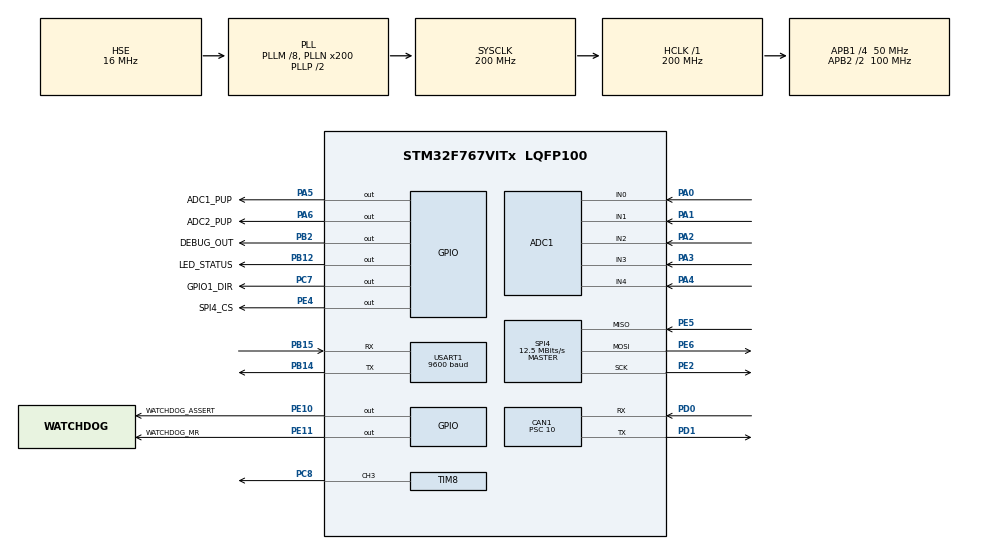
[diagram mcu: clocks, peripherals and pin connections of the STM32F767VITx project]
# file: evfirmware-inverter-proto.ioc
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ADC1.Channel-0\#ChannelRegularConversion=ADC_CHANNEL_0
ADC1.Channel-1\#ChannelRegularConversion=ADC_CHANNEL_1
ADC1.Channel-2\#ChannelRegularConversion=ADC_CHANNEL_2
ADC1.Channel-3\#ChannelRegularConversion=ADC_CHANNEL_3
ADC1.Channel-4\#ChannelRegularConversion=ADC_CHANNEL_4
ADC1.ContinuousConvMode=ENABLE
ADC1.DMAContinuousRequests=ENABLE
ADC1.NbrOfConversion=5
ADC1.NbrOfConversionFlag=1
ADC1.Rank-0\#ChannelRegularConversion=1
ADC1.Rank-1\#ChannelRegularConversion=2
ADC1.Rank-2\#ChannelRegularConversion=3
ADC1.Rank-3\#ChannelRegularConversion=4
ADC1.Rank-4\#ChannelRegularConversion=5
ADC1.SamplingTime-0\#ChannelRegularConversion=ADC_SAMPLETIME_480CYCLES
ADC1.SamplingTime-1\#ChannelRegularConversion=ADC_SAMPLETIME_480CYCLES
ADC1.SamplingTime-2\#ChannelRegularConversion=ADC_SAMPLETIME_480CYCLES
ADC1.SamplingTime-3\#ChannelRegularConversion=ADC_SAMPLETIME_480CYCLES
ADC1.SamplingTime-4\#ChannelRegularConversion=ADC_SAMPLETIME_480CYCLES
ADC1.master=1
CAN1.ABOM=DISABLE
CAN1.AWUM=DISABLE
CAN1.BS1=CAN_BS1_8TQ
CAN1.CalculateBaudRate=500000
CAN1.CalculateTimeBit=2000.00
CAN1.CalculateTimeQuantum=200.0
CAN1.NART=ENABLE
CAN1.Prescaler=10
CAN1.RFLM=DISABLE
CAN1.SJW=CAN_SJW_1TQ
CAN1.TTCM=DISABLE
CAN1.TXFP=DISABLE
Dma.ADC1.0.Direction=DMA_PERIPH_TO_MEMORY
Dma.ADC1.0.FIFOMode=DMA_FIFOMODE_DISABLE
Dma.ADC1.0.Instance=DMA2_Stream0
Dma.ADC1.0.MemDataAlignment=DMA_MDATAALIGN_HALFWORD
Dma.ADC1.0.MemInc=DMA_MINC_ENABLE
Dma.ADC1.0.Mode=DMA_CIRCULAR
Dma.ADC1.0.PeriphDataAlignment=DMA_PDATAALIGN_HALFWORD
Dma.ADC1.0.PeriphInc=DMA_PINC_DISABLE
Dma.ADC1.0.Priority=DMA_PRIORITY_LOW
Dma.Request0=ADC1
Dma.Request1=SPI4_RX
Dma.Request2=USART1_RX
Dma.Request3=USART1_TX
Dma.SPI4_RX.1.Direction=DMA_PERIPH_TO_MEMORY
Dma.SPI4_RX.1.FIFOMode=DMA_FIFOMODE_DISABLE
Dma.SPI4_RX.1.Instance=DMA2_Stream3
Dma.SPI4_RX.1.MemDataAlignment=DMA_MDATAALIGN_BYTE
Dma.SPI4_RX.1.MemInc=DMA_MINC_ENABLE
Dma.SPI4_RX.1.Mode=DMA_NORMAL
Dma.SPI4_RX.1.PeriphDataAlignment=DMA_PDATAALIGN_BYTE
Dma.SPI4_RX.1.PeriphInc=DMA_PINC_DISABLE
Dma.SPI4_RX.1.Priority=DMA_PRIORITY_LOW
Dma.USART1_RX.2.Direction=DMA_PERIPH_TO_MEMORY
Dma.USART1_RX.2.FIFOMode=DMA_FIFOMODE_DISABLE
Dma.USART1_RX.2.Instance=DMA2_Stream2
Dma.USART1_RX.2.MemDataAlignment=DMA_MDATAALIGN_BYTE
Dma.USART1_RX.2.MemInc=DMA_MINC_ENABLE
Dma.USART1_RX.2.Mode=DMA_CIRCULAR
Dma.USART1_RX.2.PeriphDataAlignment=DMA_PDATAALIGN_BYTE
Dma.USART1_RX.2.PeriphInc=DMA_PINC_DISABLE
Dma.USART1_RX.2.Priority=DMA_PRIORITY_LOW
Dma.USART1_TX.3.Direction=DMA_MEMORY_TO_PERIPH
Dma.USART1_TX.3.FIFOMode=DMA_FIFOMODE_DISABLE
Dma.USART1_TX.3.Instance=DMA2_Stream7
Dma.USART1_TX.3.MemDataAlignment=DMA_MDATAALIGN_BYTE
Dma.USART1_TX.3.MemInc=DMA_MINC_ENABLE
Dma.USART1_TX.3.Mode=DMA_NORMAL
Dma.USART1_TX.3.PeriphDataAlignment=DMA_PDATAALIGN_BYTE
Dma.USART1_TX.3.PeriphInc=DMA_PINC_DISABLE
Dma.USART1_TX.3.Priority=DMA_PRIORITY_LOW
Mcu.Family=STM32F7
Mcu.Name=STM32F767VITx
Mcu.Package=LQFP100
NVIC.CAN1_RX0_IRQn=true\:6\:0\:true\:false\:true\:true\:true
NVIC.DMA2_Stream0_IRQn=true\:0\:0\:false\:false\:true\:false\:true
NVIC.DMA2_Stream2_IRQn=true\:0\:0\:false\:false\:true\:false\:true
NVIC.DMA2_Stream3_IRQn=true\:0\:0\:false\:false\:true\:false\:true
NVIC.DMA2_Stream7_IRQn=true\:0\:0\:false\:false\:true\:false\:true
NVIC.PriorityGroup=NVIC_PRIORITYGROUP_4
NVIC.SPI4_IRQn=true\:6\:0\:true\:false\:true\:true\:true
NVIC.TIM1_UP_TIM10_IRQn=true\:0\:0\:false\:false\:true\:false\:true
NVIC.TIM2_IRQn=true\:5\:0\:true\:false\:true\:true\:true
NVIC.TimeBase=TIM1_UP_TIM10_IRQn
NVIC.TimeBaseIP=TIM1
NVIC.USART1_IRQn=true\:6\:0\:true\:false\:true\:true\:true
PA0/WKUP.Signal=ADCx_IN0
PA1.Signal=ADCx_IN1
PA13.Mode=Trace_Asynchronous_SW
PA13.Signal=SYS_JTMS-SWDIO
PA14.Mode=Trace_Asynchronous_SW
PA14.Signal=SYS_JTCK-SWCLK
PA2.Signal=ADCx_IN2
PA3.Signal=ADCx_IN3
PA4.Signal=ADCx_IN4
PA5.GPIO_Label=ADC1_PUP
PA5.Signal=GPIO_Output
PA6.GPIO_Label=ADC2_PUP
PA6.Signal=GPIO_Output
PB12.GPIO_Label=LED_STATUS
PB12.Signal=GPIO_Output
PB14.Mode=Asynchronous
PB14.Signal=USART1_TX
PB15.Mode=Asynchronous
PB15.Signal=USART1_RX
PB2.GPIO_Label=DEBUG_OUT
PB2.Signal=GPIO_Output
PB3.Mode=Trace_Asynchronous_SW
PB3.Signal=SYS_JTDO-SWO
PC7.GPIO_Label=GPIO1_DIR
PC7.Signal=GPIO_Output
PC8.Signal=S_TIM8_CH3
PD0.Mode=CAN_Activate
PD0.Signal=CAN1_RX
PD1.Mode=CAN_Activate
PD1.Signal=CAN1_TX
PE10.GPIO_Label=WATCHDOG_ASSERT
PE10.Signal=GPIO_Output
PE11.GPIO_Label=WATCHDOG_MR
PE11.Signal=GPIO_Output
PE2.Mode=Full_Duplex_Master
PE2.Signal=SPI4_SCK
PE4.GPIO_Label=SPI4_CS
PE4.Signal=GPIO_Output
PE5.Mode=Full_Duplex_Master
PE5.Signal=SPI4_MISO
PE6.Mode=Full_Duplex_Master
PE6.Signal=SPI4_MOSI
PH0/OSC_IN.Mode=HSE-External-Oscillator
PH0/OSC_IN.Signal=RCC_OSC_IN
PH1/OSC_OUT.Mode=HSE-External-Oscillator
PH1/OSC_OUT.Signal=RCC_OSC_OUT
ProjectManager.HeapSize=0x200
ProjectManager.StackSize=0x400
ProjectManager.TargetToolchain=STM32CubeIDE
RCC.AHBFreq_Value=200000000
RCC.APB1CLKDivider=RCC_HCLK_DIV4
RCC.APB1Freq_Value=50000000
RCC.APB1TimFreq_Value=100000000
RCC.APB2CLKDivider=RCC_HCLK_DIV2
RCC.APB2Freq_Value=100000000
RCC.APB2TimFreq_Value=200000000
RCC.CortexFreq_Value=200000000
RCC.HCLKFreq_Value=200000000
RCC.HSE_VALUE=16000000
RCC.HSI_VALUE=16000000
RCC.LSE_VALUE=32768
RCC.PLLM=8
RCC.PLLN=200
RCC.PLLSourceVirtual=RCC_PLLSOURCE_HSE
RCC.SYSCLKFreq_VALUE=200000000
RCC.SYSCLKSource=RCC_SYSCLKSOURCE_PLLCLK
RCC.USBFreq_Value=200000000
RCC.VCOOutputFreq_Value=400000000
SH.ADCx_IN0.0=ADC1_IN0,IN0
SH.ADCx_IN1.0=ADC1_IN1,IN1
SH.ADCx_IN2.0=ADC1_IN2,IN2
SH.ADCx_IN3.0=ADC1_IN3,IN3
SH.ADCx_IN4.0=ADC1_IN4,IN4
SH.S_TIM8_CH3.0=TIM8_CH3,PWM Generation3 CH3
SPI4.BaudRatePrescaler=SPI_BAUDRATEPRESCALER_8
SPI4.CalculateBaudRate=12.5 MBits/s
SPI4.DataSize=SPI_DATASIZE_8BIT
SPI4.Direction=SPI_DIRECTION_2LINES
SPI4.Mode=SPI_MODE_MASTER
SPI4.VirtualType=VM_MASTER
TIM2.AutoReloadPreload=TIM_AUTORELOAD_PRELOAD_ENABLE
TIM2.Period=999
TIM2.Prescaler=9
TIM8.AutoReloadPreload=TIM_AUTORELOAD_PRELOAD_ENABLE
TIM8.Channel-PWM\ Generation3\ CH3=TIM_CHANNEL_3
TIM8.Period=19999
TIM8.Prescaler=0
USART1.BaudRate=9600
USART1.VirtualMode-Asynchronous=VM_ASYNC
VP_RTC_VS_RTC_Activate.Mode=RTC_Enabled
VP_SYS_VS_tim1.Mode=TIM1
VP_TIM2_VS_ClockSourceINT.Mode=Internal
VP_TIM8_VS_ClockSourceINT.Mode=Internal
board=custom

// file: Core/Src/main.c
/* USER CODE BEGIN Header */
/**
  ******************************************************************************
  * @file           : main.c
  * @brief          : Main program body
  ******************************************************************************
  * @attention
  *
  * <h2><center>&copy; Copyright (c) 2020 STMicroelectronics.
  * All rights reserved.</center></h2>
  *
  * This software component is licensed by ST under BSD 3-Clause license,
  * the "License"; You may not use this file except in compliance with the
  * License. You may obtain a copy of the License at:
  *                        opensource.org/licenses/BSD-3-Clause
  *
  ******************************************************************************
  */
/* USER CODE END Header */
#include "main.h"

/* USER CODE BEGIN Includes */
#include <stdio.h>
#include <stdbool.h>
#include "FreeRTOS.h"
#include "task.h"

#include "startup/initialize.h"

#include "time/tasktimer/tasktimer.h" /* Used for timer callback ISR */
#include "lib/logging/logging.h"
/* USER CODE END Includes */

/* USER CODE BEGIN PD */
static bool isInitialized;
/* USER CODE END PD */

ADC_HandleTypeDef hadc1;
DMA_HandleTypeDef hdma_adc1;

CAN_HandleTypeDef hcan1;

RTC_HandleTypeDef hrtc;

SPI_HandleTypeDef hspi4;
DMA_HandleTypeDef hdma_spi4_rx;

TIM_HandleTypeDef htim2;
TIM_HandleTypeDef htim8;

UART_HandleTypeDef huart1;
DMA_HandleTypeDef hdma_usart1_rx;
DMA_HandleTypeDef hdma_usart1_tx;

void SystemClock_Config(void);
static void MX_GPIO_Init(void);
static void MX_DMA_Init(void);
static void MX_CAN1_Init(void);
static void MX_ADC1_Init(void);
static void MX_SPI4_Init(void);
static void MX_TIM2_Init(void);
static void MX_USART1_UART_Init(void);
static void MX_RTC_Init(void);
static void MX_TIM8_Init(void);

int main(void)
{
  /* USER CODE BEGIN 1 */
  isInitialized = false;

  /* USER CODE END 1 */

  /* MCU Configuration--------------------------------------------------------*/

  /* Reset of all peripherals, Initializes the Flash interface and the Systick. */
  HAL_Init();

  /* Configure the system clock */
  SystemClock_Config();

  /* USER CODE BEGIN SysInit */
  // Disable interrupts while hardware initializes before the RTOS starts up
  // (once the hardware initializes, interrupts will invoke RTOS calls - prevent this)
  portDISABLE_INTERRUPTS();
  /* USER CODE END SysInit */

  /* Initialize all configured peripherals */
  MX_GPIO_Init();
  MX_DMA_Init();
  MX_CAN1_Init();
  MX_ADC1_Init();
  MX_SPI4_Init();
  MX_TIM2_Init();
  MX_USART1_UART_Init();
  MX_RTC_Init();
  MX_TIM8_Init();
  /* USER CODE BEGIN 2 */

  printf("\n");
  printf("Main initialize...\n");
  ECU_Init_Status_T initStatus = ECU_Init();
  if (initStatus != ECU_INIT_OK) {
    printf("Initialization error, halting\n");
    Error_Handler();
  }

  isInitialized = true;

  // start RTOS
  printf("Starting scheduler...\n");
  vTaskStartScheduler();

  /* USER CODE END 2 */

  /* Infinite loop */
  while (1)
  {

  }
}

void SystemClock_Config(void)
{
  RCC_OscInitTypeDef RCC_OscInitStruct = {0};
  RCC_ClkInitTypeDef RCC_ClkInitStruct = {0};
  RCC_PeriphCLKInitTypeDef PeriphClkInitStruct = {0};

  /** Configure the main internal regulator output voltage
  */
  __HAL_RCC_PWR_CLK_ENABLE();
  __HAL_PWR_VOLTAGESCALING_CONFIG(PWR_REGULATOR_VOLTAGE_SCALE1);
  /** Initializes the RCC Oscillators according to the specified parameters
  * in the RCC_OscInitTypeDef structure.
  */
  RCC_OscInitStruct.OscillatorType = RCC_OSCILLATORTYPE_LSI|RCC_OSCILLATORTYPE_HSE;
  RCC_OscInitStruct.HSEState = RCC_HSE_ON;
  RCC_OscInitStruct.LSIState = RCC_LSI_ON;
  RCC_OscInitStruct.PLL.PLLState = RCC_PLL_ON;
  RCC_OscInitStruct.PLL.PLLSource = RCC_PLLSOURCE_HSE;
  RCC_OscInitStruct.PLL.PLLM = 8;
  RCC_OscInitStruct.PLL.PLLN = 200;
  RCC_OscInitStruct.PLL.PLLP = RCC_PLLP_DIV2;
  RCC_OscInitStruct.PLL.PLLQ = 2;
  RCC_OscInitStruct.PLL.PLLR = 2;
  if (HAL_RCC_OscConfig(&RCC_OscInitStruct) != HAL_OK)
  {
    Error_Handler();
  }
  /** Activate the Over-Drive mode
  */
  if (HAL_PWREx_EnableOverDrive() != HAL_OK)
  {
    Error_Handler();
  }
  /** Initializes the CPU, AHB and APB buses clocks
  */
  RCC_ClkInitStruct.ClockType = RCC_CLOCKTYPE_HCLK|RCC_CLOCKTYPE_SYSCLK
                              |RCC_CLOCKTYPE_PCLK1|RCC_CLOCKTYPE_PCLK2;
  RCC_ClkInitStruct.SYSCLKSource = RCC_SYSCLKSOURCE_PLLCLK;
  RCC_ClkInitStruct.AHBCLKDivider = RCC_SYSCLK_DIV1;
  RCC_ClkInitStruct.APB1CLKDivider = RCC_HCLK_DIV4;
  RCC_ClkInitStruct.APB2CLKDivider = RCC_HCLK_DIV2;

  if (HAL_RCC_ClockConfig(&RCC_ClkInitStruct, FLASH_LATENCY_6) != HAL_OK)
  {
    Error_Handler();
  }
  PeriphClkInitStruct.PeriphClockSelection = RCC_PERIPHCLK_RTC|RCC_PERIPHCLK_USART1;
  PeriphClkInitStruct.RTCClockSelection = RCC_RTCCLKSOURCE_LSI;
  PeriphClkInitStruct.Usart1ClockSelection = RCC_USART1CLKSOURCE_PCLK2;
  if (HAL_RCCEx_PeriphCLKConfig(&PeriphClkInitStruct) != HAL_OK)
  {
    Error_Handler();
  }
}

static void MX_ADC1_Init(void)
{

  ADC_ChannelConfTypeDef sConfig = {0};

  /** Configure the global features of the ADC (Clock, Resolution, Data Alignment and number of conversion)
  */
  hadc1.Instance = ADC1;
  hadc1.Init.ClockPrescaler = ADC_CLOCK_SYNC_PCLK_DIV4;
  hadc1.Init.Resolution = ADC_RESOLUTION_12B;
  hadc1.Init.ScanConvMode = ADC_SCAN_ENABLE;
  hadc1.Init.ContinuousConvMode = ENABLE;
  hadc1.Init.DiscontinuousConvMode = DISABLE;
  hadc1.Init.ExternalTrigConvEdge = ADC_EXTERNALTRIGCONVEDGE_NONE;
  hadc1.Init.ExternalTrigConv = ADC_SOFTWARE_START;
  hadc1.Init.DataAlign = ADC_DATAALIGN_RIGHT;
  hadc1.Init.NbrOfConversion = 5;
  hadc1.Init.DMAContinuousRequests = ENABLE;
  hadc1.Init.EOCSelection = ADC_EOC_SINGLE_CONV;
  if (HAL_ADC_Init(&hadc1) != HAL_OK)
  {
    Error_Handler();
  }
  /** Configure for the selected ADC regular channel its corresponding rank in the sequencer and its sample time.
  */
  sConfig.Channel = ADC_CHANNEL_0;
  sConfig.Rank = ADC_REGULAR_RANK_1;
  sConfig.SamplingTime = ADC_SAMPLETIME_480CYCLES;
  if (HAL_ADC_ConfigChannel(&hadc1, &sConfig) != HAL_OK)
  {
    Error_Handler();
  }
  /** Configure for the selected ADC regular channel its corresponding rank in the sequencer and its sample time.
  */
  sConfig.Channel = ADC_CHANNEL_1;
  sConfig.Rank = ADC_REGULAR_RANK_2;
  if (HAL_ADC_ConfigChannel(&hadc1, &sConfig) != HAL_OK)
  {
    Error_Handler();
  }
  /** Configure for the selected ADC regular channel its corresponding rank in the sequencer and its sample time.
  */
  sConfig.Channel = ADC_CHANNEL_2;
  sConfig.Rank = ADC_REGULAR_RANK_3;
  if (HAL_ADC_ConfigChannel(&hadc1, &sConfig) != HAL_OK)
  {
    Error_Handler();
  }
  /** Configure for the selected ADC regular channel its corresponding rank in the sequencer and its sample time.
  */
  sConfig.Channel = ADC_CHANNEL_3;
  sConfig.Rank = ADC_REGULAR_RANK_4;
  if (HAL_ADC_ConfigChannel(&hadc1, &sConfig) != HAL_OK)
  {
    Error_Handler();
  }
  /** Configure for the selected ADC regular channel its corresponding rank in the sequencer and its sample time.
  */
  sConfig.Channel = ADC_CHANNEL_4;
  sConfig.Rank = ADC_REGULAR_RANK_5;
  if (HAL_ADC_ConfigChannel(&hadc1, &sConfig) != HAL_OK)
  {
    Error_Handler();
  }

}

static void MX_CAN1_Init(void)
{

  hcan1.Instance = CAN1;
  hcan1.Init.Prescaler = 10;
  hcan1.Init.Mode = CAN_MODE_NORMAL;
  hcan1.Init.SyncJumpWidth = CAN_SJW_1TQ;
  hcan1.Init.TimeSeg1 = CAN_BS1_8TQ;
  hcan1.Init.TimeSeg2 = CAN_BS2_1TQ;
  hcan1.Init.TimeTriggeredMode = DISABLE;
  hcan1.Init.AutoBusOff = DISABLE;
  hcan1.Init.AutoWakeUp = DISABLE;
  hcan1.Init.AutoRetransmission = ENABLE;
  hcan1.Init.ReceiveFifoLocked = DISABLE;
  hcan1.Init.TransmitFifoPriority = DISABLE;
  if (HAL_CAN_Init(&hcan1) != HAL_OK)
  {
    Error_Handler();
  }

}

static void MX_RTC_Init(void)
{

  /** Initialize RTC Only
  */
  hrtc.Instance = RTC;
  hrtc.Init.HourFormat = RTC_HOURFORMAT_24;
  hrtc.Init.AsynchPrediv = 127;
  hrtc.Init.SynchPrediv = 255;
  hrtc.Init.OutPut = RTC_OUTPUT_DISABLE;
  hrtc.Init.OutPutPolarity = RTC_OUTPUT_POLARITY_HIGH;
  hrtc.Init.OutPutType = RTC_OUTPUT_TYPE_OPENDRAIN;
  if (HAL_RTC_Init(&hrtc) != HAL_OK)
  {
    Error_Handler();
  }

}

static void MX_SPI4_Init(void)
{

  /* SPI4 parameter configuration*/
  hspi4.Instance = SPI4;
  hspi4.Init.Mode = SPI_MODE_MASTER;
  hspi4.Init.Direction = SPI_DIRECTION_2LINES;
  hspi4.Init.DataSize = SPI_DATASIZE_8BIT;
  hspi4.Init.CLKPolarity = SPI_POLARITY_LOW;
  hspi4.Init.CLKPhase = SPI_PHASE_1EDGE;
  hspi4.Init.NSS = SPI_NSS_SOFT;
  hspi4.Init.BaudRatePrescaler = SPI_BAUDRATEPRESCALER_8;
  hspi4.Init.FirstBit = SPI_FIRSTBIT_MSB;
  hspi4.Init.TIMode = SPI_TIMODE_DISABLE;
  hspi4.Init.CRCCalculation = SPI_CRCCALCULATION_DISABLE;
  hspi4.Init.CRCPolynomial = 7;
  hspi4.Init.CRCLength = SPI_CRC_LENGTH_DATASIZE;
  hspi4.Init.NSSPMode = SPI_NSS_PULSE_ENABLE;
  if (HAL_SPI_Init(&hspi4) != HAL_OK)
  {
    Error_Handler();
  }

}

static void MX_TIM2_Init(void)
{

  TIM_ClockConfigTypeDef sClockSourceConfig = {0};
  TIM_MasterConfigTypeDef sMasterConfig = {0};

  htim2.Instance = TIM2;
  htim2.Init.Prescaler = 9;
  htim2.Init.CounterMode = TIM_COUNTERMODE_UP;
  htim2.Init.Period = 999;
  htim2.Init.ClockDivision = TIM_CLOCKDIVISION_DIV1;
  htim2.Init.AutoReloadPreload = TIM_AUTORELOAD_PRELOAD_ENABLE;
  if (HAL_TIM_Base_Init(&htim2) != HAL_OK)
  {
    Error_Handler();
  }
  sClockSourceConfig.ClockSource = TIM_CLOCKSOURCE_INTERNAL;
  if (HAL_TIM_ConfigClockSource(&htim2, &sClockSourceConfig) != HAL_OK)
  {
    Error_Handler();
  }
  sMasterConfig.MasterOutputTrigger = TIM_TRGO_RESET;
  sMasterConfig.MasterSlaveMode = TIM_MASTERSLAVEMODE_DISABLE;
  if (HAL_TIMEx_MasterConfigSynchronization(&htim2, &sMasterConfig) != HAL_OK)
  {
    Error_Handler();
  }

}

static void MX_TIM8_Init(void)
{

  TIM_ClockConfigTypeDef sClockSourceConfig = {0};
  TIM_MasterConfigTypeDef sMasterConfig = {0};
  TIM_OC_InitTypeDef sConfigOC = {0};
  TIM_BreakDeadTimeConfigTypeDef sBreakDeadTimeConfig = {0};

  htim8.Instance = TIM8;
  htim8.Init.Prescaler = 0;
  htim8.Init.CounterMode = TIM_COUNTERMODE_UP;
  htim8.Init.Period = 19999;
  htim8.Init.ClockDivision = TIM_CLOCKDIVISION_DIV1;
  htim8.Init.RepetitionCounter = 0;
  htim8.Init.AutoReloadPreload = TIM_AUTORELOAD_PRELOAD_ENABLE;
  if (HAL_TIM_Base_Init(&htim8) != HAL_OK)
  {
    Error_Handler();
  }
  sClockSourceConfig.ClockSource = TIM_CLOCKSOURCE_INTERNAL;
  if (HAL_TIM_ConfigClockSource(&htim8, &sClockSourceConfig) != HAL_OK)
  {
    Error_Handler();
  }
  if (HAL_TIM_PWM_Init(&htim8) != HAL_OK)
  {
    Error_Handler();
  }
  sMasterConfig.MasterOutputTrigger = TIM_TRGO_RESET;
  sMasterConfig.MasterOutputTrigger2 = TIM_TRGO2_RESET;
  sMasterConfig.MasterSlaveMode = TIM_MASTERSLAVEMODE_DISABLE;
  if (HAL_TIMEx_MasterConfigSynchronization(&htim8, &sMasterConfig) != HAL_OK)
  {
    Error_Handler();
  }
  sConfigOC.OCMode = TIM_OCMODE_PWM1;
  sConfigOC.Pulse = 0;
  sConfigOC.OCPolarity = TIM_OCPOLARITY_HIGH;
  sConfigOC.OCNPolarity = TIM_OCNPOLARITY_HIGH;
  sConfigOC.OCFastMode = TIM_OCFAST_DISABLE;
  sConfigOC.OCIdleState = TIM_OCIDLESTATE_RESET;
  sConfigOC.OCNIdleState = TIM_OCNIDLESTATE_RESET;
  if (HAL_TIM_PWM_ConfigChannel(&htim8, &sConfigOC, TIM_CHANNEL_3) != HAL_OK)
  {
    Error_Handler();
  }
  sBreakDeadTimeConfig.OffStateRunMode = TIM_OSSR_DISABLE;
  sBreakDeadTimeConfig.OffStateIDLEMode = TIM_OSSI_DISABLE;
  sBreakDeadTimeConfig.LockLevel = TIM_LOCKLEVEL_OFF;
  sBreakDeadTimeConfig.DeadTime = 0;
  sBreakDeadTimeConfig.BreakState = TIM_BREAK_DISABLE;
  sBreakDeadTimeConfig.BreakPolarity = TIM_BREAKPOLARITY_HIGH;
  sBreakDeadTimeConfig.BreakFilter = 0;
  sBreakDeadTimeConfig.Break2State = TIM_BREAK2_DISABLE;
  sBreakDeadTimeConfig.Break2Polarity = TIM_BREAK2POLARITY_HIGH;
  sBreakDeadTimeConfig.Break2Filter = 0;
  sBreakDeadTimeConfig.AutomaticOutput = TIM_AUTOMATICOUTPUT_DISABLE;
  if (HAL_TIMEx_ConfigBreakDeadTime(&htim8, &sBreakDeadTimeConfig) != HAL_OK)
  {
    Error_Handler();
  }
  HAL_TIM_MspPostInit(&htim8);

}

static void MX_USART1_UART_Init(void)
{

  huart1.Instance = USART1;
  huart1.Init.BaudRate = 9600;
  huart1.Init.WordLength = UART_WORDLENGTH_8B;
  huart1.Init.StopBits = UART_STOPBITS_1;
  huart1.Init.Parity = UART_PARITY_NONE;
  huart1.Init.Mode = UART_MODE_TX_RX;
  huart1.Init.HwFlowCtl = UART_HWCONTROL_NONE;
  huart1.Init.OverSampling = UART_OVERSAMPLING_16;
  huart1.Init.OneBitSampling = UART_ONE_BIT_SAMPLE_DISABLE;
  huart1.AdvancedInit.AdvFeatureInit = UART_ADVFEATURE_NO_INIT;
  if (HAL_UART_Init(&huart1) != HAL_OK)
  {
    Error_Handler();
  }

}

static void MX_DMA_Init(void)
{

  /* DMA controller clock enable */
  __HAL_RCC_DMA2_CLK_ENABLE();

  /* DMA interrupt init */
  /* DMA2_Stream0_IRQn interrupt configuration */
  HAL_NVIC_SetPriority(DMA2_Stream0_IRQn, 0, 0);
  HAL_NVIC_EnableIRQ(DMA2_Stream0_IRQn);
  /* DMA2_Stream2_IRQn interrupt configuration */
  HAL_NVIC_SetPriority(DMA2_Stream2_IRQn, 0, 0);
  HAL_NVIC_EnableIRQ(DMA2_Stream2_IRQn);
  /* DMA2_Stream3_IRQn interrupt configuration */
  HAL_NVIC_SetPriority(DMA2_Stream3_IRQn, 0, 0);
  HAL_NVIC_EnableIRQ(DMA2_Stream3_IRQn);
  /* DMA2_Stream7_IRQn interrupt configuration */
  HAL_NVIC_SetPriority(DMA2_Stream7_IRQn, 0, 0);
  HAL_NVIC_EnableIRQ(DMA2_Stream7_IRQn);

}

static void MX_GPIO_Init(void)
{
  GPIO_InitTypeDef GPIO_InitStruct = {0};

  /* GPIO Ports Clock Enable */
  __HAL_RCC_GPIOE_CLK_ENABLE();
  __HAL_RCC_GPIOH_CLK_ENABLE();
  __HAL_RCC_GPIOA_CLK_ENABLE();
  __HAL_RCC_GPIOB_CLK_ENABLE();
  __HAL_RCC_GPIOC_CLK_ENABLE();
  __HAL_RCC_GPIOD_CLK_ENABLE();

  /*Configure GPIO pin Output Level */
  HAL_GPIO_WritePin(GPIOE, SPI4_CS_Pin|WATCHDOG_ASSERT_Pin|WATCHDOG_MR_Pin, GPIO_PIN_RESET);

  /*Configure GPIO pin Output Level */
  HAL_GPIO_WritePin(GPIOA, ADC1_PUP_Pin|ADC2_PUP_Pin, GPIO_PIN_RESET);

  /*Configure GPIO pin Output Level */
  HAL_GPIO_WritePin(GPIOB, DEBUG_OUT_Pin|LED_STATUS_Pin, GPIO_PIN_RESET);

  /*Configure GPIO pin Output Level */
  HAL_GPIO_WritePin(GPIO1_DIR_GPIO_Port, GPIO1_DIR_Pin, GPIO_PIN_RESET);

  /*Configure GPIO pins : SPI4_CS_Pin WATCHDOG_ASSERT_Pin WATCHDOG_MR_Pin */
  GPIO_InitStruct.Pin = SPI4_CS_Pin|WATCHDOG_ASSERT_Pin|WATCHDOG_MR_Pin;
  GPIO_InitStruct.Mode = GPIO_MODE_OUTPUT_PP;
  GPIO_InitStruct.Pull = GPIO_NOPULL;
  GPIO_InitStruct.Speed = GPIO_SPEED_FREQ_LOW;
  HAL_GPIO_Init(GPIOE, &GPIO_InitStruct);

  /*Configure GPIO pins : ADC1_PUP_Pin ADC2_PUP_Pin */
  GPIO_InitStruct.Pin = ADC1_PUP_Pin|ADC2_PUP_Pin;
  GPIO_InitStruct.Mode = GPIO_MODE_OUTPUT_PP;
  GPIO_InitStruct.Pull = GPIO_NOPULL;
  GPIO_InitStruct.Speed = GPIO_SPEED_FREQ_LOW;
  HAL_GPIO_Init(GPIOA, &GPIO_InitStruct);

  /*Configure GPIO pins : DEBUG_OUT_Pin LED_STATUS_Pin */
  GPIO_InitStruct.Pin = DEBUG_OUT_Pin|LED_STATUS_Pin;
  GPIO_InitStruct.Mode = GPIO_MODE_OUTPUT_PP;
  GPIO_InitStruct.Pull = GPIO_NOPULL;
  GPIO_InitStruct.Speed = GPIO_SPEED_FREQ_LOW;
  HAL_GPIO_Init(GPIOB, &GPIO_InitStruct);

  /*Configure GPIO pin : GPIO1_DIR_Pin */
  GPIO_InitStruct.Pin = GPIO1_DIR_Pin;
  GPIO_InitStruct.Mode = GPIO_MODE_OUTPUT_PP;
  GPIO_InitStruct.Pull = GPIO_NOPULL;
  GPIO_InitStruct.Speed = GPIO_SPEED_FREQ_LOW;
  HAL_GPIO_Init(GPIO1_DIR_GPIO_Port, &GPIO_InitStruct);

}

void HAL_TIM_PeriodElapsedCallback(TIM_HandleTypeDef *htim)
{
  if (htim->Instance == TIM1) {
    HAL_IncTick();
  }
  /* USER CODE BEGIN Callback 1 */

  // Advance the TaskTimer
  if (isInitialized) {
    TaskTimer_TIM_PeriodElapsedCallback(htim);
  }

  /* USER CODE END Callback 1 */
}

void Error_Handler(void)
{
	while (1)
	{
	}
}

/************************ (C) COPYRIGHT STMicroelectronics *****END OF FILE****/
